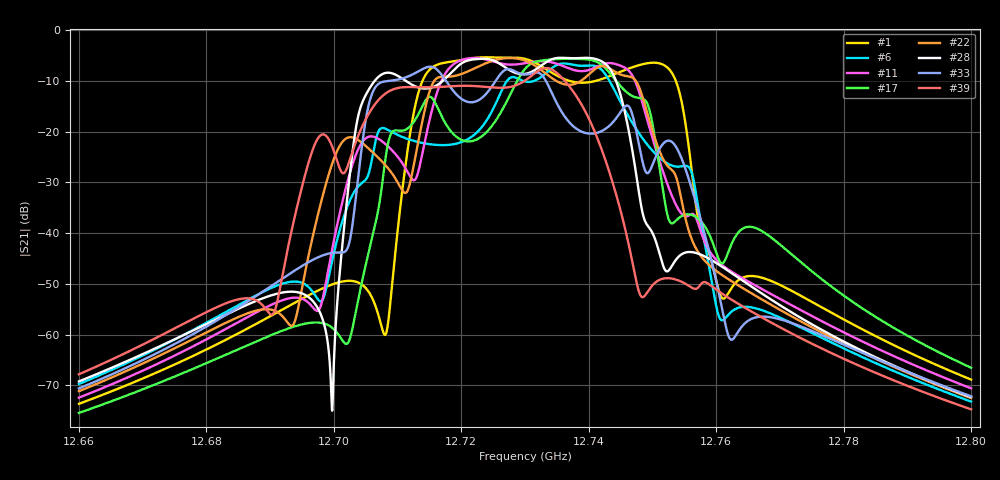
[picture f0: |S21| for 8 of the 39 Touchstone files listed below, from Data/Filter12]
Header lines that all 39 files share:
! TOUCHSTONE file generated by CST MICROWAVE STUDIO
! Project name: WaveGuide_BPF-Ver4.1_U-shape_Ku_T3_C4_CWA_2.cst
! Header version: 2018
! Port assignment regex: !\s*Touchstone port\s*([0-9]+)\s*=\s*(CST MWS port|CST DS port)\s*([0-9]+|Zmin|Zmax)\s*\(\"(.*)\"\)(\s*mode\s*([0-9]+))?.*
! Touchstone port assignment:
! Touchstone port 1 = CST MWS port 1 ("")
! Touchstone port 2 = CST MWS port 2 ("")
# GHz S RI R 50
Fixed: cavity_h = 16, cavity_l0 = 10, cavity_r = 2.5, cavity_screw_l = 0.5, cavity_screw_r = 1.5, cavity_w = 8, iris_h00 = 0, iris_h112 = 0, iris_rx = 0.1, iris_screw_l = 0.5, iris_screw_r = 1.5, iris_shift00 = 0, iris_shift112 = 0, iris_shift211 = 3.5, iris_shift310 = 0, iris_shift49 = 0, iris_shift58 = 3.5, iris_shift67 = 3.5, iris_tx = 4.5, iris_tz = 4.5, iris_w00 = 0, iris_w112 = 0, iris_w211 = 4, iris_w58 = 4, iris_w67 = 4, mesh_cavity = 5, mesh_iris = 7, mesh_screw = 7, order = 12, reset_all = 0, sigma = 4.8e+07
Also varied, not listed: iris_h45, iris_h49, iris_h56, iris_h58, iris_h67, iris_w310, iris_w49
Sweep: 12.66 GHz to 12.8 GHz
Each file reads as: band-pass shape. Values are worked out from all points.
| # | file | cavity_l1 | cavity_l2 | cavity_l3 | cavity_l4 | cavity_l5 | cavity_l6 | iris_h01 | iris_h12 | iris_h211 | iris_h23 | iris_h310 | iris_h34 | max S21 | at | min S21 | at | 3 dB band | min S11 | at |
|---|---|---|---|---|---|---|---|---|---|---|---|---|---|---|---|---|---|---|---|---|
| 1 | 161_Sprms.s2p | 15.19 | 16.8274 | 17.1 | 17.2456 | 17.1289 | 17.5828 | 8.8168 | 5.6062 | 3.6525 | 5.2046 | 3.976 | 5.0683 | -5.30 dB | 12.724 GHz | -73.7 dB | 12.66 GHz | 12.715 GHz-12.734 GHz | -22.0 dB | 12.729 GHz |
| 2 | 162_Sprms.s2p | 15.1788 | 16.8468 | 17.0992 | 17.2289 | 17.1523 | 17.6355 | 8.8103 | 5.5925 | 3.6533 | 5.2127 | 3.9665 | 5.0864 | -7.13 dB | 12.735 GHz | -73.8 dB | 12.66 GHz | 12.714 GHz-12.724 GHz | -38.3 dB | 12.754 GHz |
| 3 | 163_Sprms.s2p | 15.1911 | 16.8827 | 17.1078 | 17.2768 | 17.0914 | 17.6204 | 8.8127 | 5.5918 | 3.6522 | 5.2128 | 3.9606 | 5.0755 | -8.46 dB | 12.716 GHz | -73.6 dB | 12.8 GHz | 12.736 GHz-12.742 GHz | -15.4 dB | 12.717 GHz |
| 4 | 164_Sprms.s2p | 15.1677 | 16.8466 | 17.1295 | 17.2913 | 17.1088 | 17.5793 | 8.8141 | 5.5921 | 3.6558 | 5.2067 | 3.9746 | 5.069 | -6.14 dB | 12.72 GHz | -74.4 dB | 12.66 GHz | 12.731 GHz-12.746 GHz | -23.0 dB | 12.703 GHz |
| 5 | 165_Sprms.s2p | 15.1704 | 16.8281 | 17.1206 | 17.2684 | 17.142 | 17.6072 | 8.833 | 5.6133 | 3.6516 | 5.1942 | 3.9695 | 5.0908 | -5.20 dB | 12.741 GHz | -73.8 dB | 12.66 GHz | 12.717 GHz-12.729 GHz | -31.5 dB | 12.741 GHz |
| 6 | 166_Sprms.s2p | 15.232 | 16.8525 | 17.1352 | 17.2266 | 17.0977 | 17.6213 | 8.7997 | 5.5967 | 3.6645 | 5.2118 | 3.9679 | 5.0687 | -6.51 dB | 12.736 GHz | -73.2 dB | 12.8 GHz | 12.732 GHz-12.743 GHz | -12.7 dB | 12.741 GHz |
| 7 | 167_Sprms.s2p | 15.2331 | 16.8307 | 17.0651 | 17.3097 | 17.141 | 17.6284 | 8.83 | 5.6038 | 3.6681 | 5.1977 | 3.9771 | 5.069 | -6.80 dB | 12.732 GHz | -72.0 dB | 12.8 GHz | 12.728 GHz-12.736 GHz | -12.7 dB | 12.732 GHz |
| 8 | 168_Sprms.s2p | 15.2041 | 16.864 | 17.0794 | 17.2675 | 17.1192 | 17.6333 | 8.8364 | 5.5873 | 3.6549 | 5.1926 | 3.9612 | 5.0819 | -6.16 dB | 12.741 GHz | -73.5 dB | 12.8 GHz | 12.715 GHz-12.723 GHz | -19.6 dB | 12.718 GHz |
| 9 | 169_Sprms.s2p | 15.1649 | 16.8351 | 17.0999 | 17.2529 | 17.1519 | 17.6063 | 8.8106 | 5.5925 | 3.6618 | 5.2034 | 3.9677 | 5.0785 | -5.96 dB | 12.715 GHz | -75.7 dB | 12.66 GHz | 12.71 GHz-12.725 GHz | -17.2 dB | 12.713 GHz |
| 10 | 170_Sprms.s2p | 15.1782 | 16.8418 | 17.1426 | 17.2392 | 17.1422 | 17.5599 | 8.8269 | 5.6105 | 3.6588 | 5.1874 | 3.9629 | 5.068 | -7.65 dB | 12.749 GHz | -72.7 dB | 12.66 GHz | 12.715 GHz-12.722 GHz | -13.8 dB | 12.749 GHz |
| 11 | 171_Sprms.s2p | 15.1872 | 16.8588 | 17.1282 | 17.2782 | 17.119 | 17.5731 | 8.8082 | 5.5989 | 3.654 | 5.1881 | 3.961 | 5.0686 | -5.43 dB | 12.722 GHz | -72.5 dB | 12.66 GHz | 12.718 GHz-12.747 GHz | -22.0 dB | 12.721 GHz |
| 12 | 172_Sprms.s2p | 15.2228 | 16.8822 | 17.0993 | 17.2739 | 17.112 | 17.6304 | 8.8254 | 5.5861 | 3.6544 | 5.1917 | 3.9739 | 5.0734 | -6.27 dB | 12.741 GHz | -75.7 dB | 12.8 GHz | 12.738 GHz-12.744 GHz | -17.6 dB | 12.742 GHz |
| 13 | 173_Sprms.s2p | 15.1616 | 16.8279 | 17.0892 | 17.2891 | 17.1154 | 17.5904 | 8.8013 | 5.599 | 3.6543 | 5.1922 | 3.9782 | 5.0705 | -6.28 dB | 12.74 GHz | -76.7 dB | 12.66 GHz | 12.732 GHz-12.746 GHz | -12.5 dB | 12.74 GHz |
| 14 | 174_Sprms.s2p | 15.1637 | 16.8708 | 17.0657 | 17.2375 | 17.165 | 17.6121 | 8.8406 | 5.6091 | 3.6679 | 5.2057 | 3.9677 | 5.0833 | -6.86 dB | 12.735 GHz | -71.9 dB | 12.8 GHz | 12.732 GHz-12.738 GHz | -39.3 dB | 12.735 GHz |
| 15 | 175_Sprms.s2p | 15.1732 | 16.8625 | 17.124 | 17.255 | 17.1254 | 17.6228 | 8.8248 | 5.6104 | 3.6598 | 5.1985 | 3.9649 | 5.0794 | -5.22 dB | 12.73 GHz | -71.1 dB | 12.8 GHz | 12.719 GHz-12.741 GHz | -25.0 dB | 12.729 GHz |
| 16 | 176_Sprms.s2p | 15.2097 | 16.8806 | 17.104 | 17.2367 | 17.1242 | 17.5757 | 8.8149 | 5.5944 | 3.6654 | 5.209 | 3.9781 | 5.0701 | -5.59 dB | 12.728 GHz | -74.6 dB | 12.8 GHz | 12.72 GHz-12.738 GHz | -39.6 dB | 12.735 GHz |
| 17 | 177_Sprms.s2p | 15.216 | 16.803 | 17.0777 | 17.2977 | 17.1252 | 17.6027 | 8.7993 | 5.5926 | 3.6542 | 5.1971 | 3.974 | 5.0784 | -5.60 dB | 12.737 GHz | -75.5 dB | 12.66 GHz | 12.729 GHz-12.743 GHz | -36.1 dB | 12.736 GHz |
| 18 | 178_Sprms.s2p | 15.2096 | 16.8303 | 17.0972 | 17.2534 | 17.1672 | 17.5741 | 8.8358 | 5.6093 | 3.655 | 5.2088 | 3.9779 | 5.0902 | -7.81 dB | 12.729 GHz | -71.4 dB | 12.8 GHz | 12.726 GHz-12.731 GHz | -9.8 dB | 12.709 GHz |
| 19 | 179_Sprms.s2p | 15.1947 | 16.8561 | 17.0751 | 17.248 | 17.105 | 17.5545 | 8.8246 | 5.5983 | 3.6664 | 5.2065 | 3.9789 | 5.0817 | -5.62 dB | 12.74 GHz | -72.0 dB | 12.8 GHz | 12.72 GHz-12.745 GHz | -42.5 dB | 12.72 GHz |
| 20 | 180_Sprms.s2p | 15.202 | 16.824 | 17.1249 | 17.2248 | 17.1619 | 17.6214 | 8.8353 | 5.6002 | 3.6599 | 5.2022 | 3.9787 | 5.0859 | -7.14 dB | 12.713 GHz | -72.5 dB | 12.66 GHz | 12.708 GHz-12.717 GHz | -23.3 dB | 12.709 GHz |
| 21 | 181_Sprms.s2p | 15.1829 | 16.8197 | 17.0921 | 17.2935 | 17.088 | 17.5558 | 8.8202 | 5.5912 | 3.6689 | 5.1912 | 3.9799 | 5.0922 | -7.93 dB | 12.744 GHz | -75.4 dB | 12.66 GHz | 12.741 GHz-12.752 GHz | -10.2 dB | 12.709 GHz |
| 22 | 182_Sprms.s2p | 15.217 | 16.8602 | 17.1412 | 17.2672 | 17.1155 | 17.5885 | 8.7983 | 5.5902 | 3.654 | 5.2007 | 3.968 | 5.0822 | -5.45 dB | 12.728 GHz | -72.5 dB | 12.8 GHz | 12.72 GHz-12.733 GHz | -18.1 dB | 12.728 GHz |
| 23 | 183_Sprms.s2p | 15.1748 | 16.8529 | 17.0621 | 17.2707 | 17.1519 | 17.5761 | 8.8385 | 5.6114 | 3.6682 | 5.199 | 3.9732 | 5.0801 | -6.31 dB | 12.733 GHz | -71.0 dB | 12.8 GHz | 12.723 GHz-12.737 GHz | -13.8 dB | 12.757 GHz |
| 24 | 184_Sprms.s2p | 15.2126 | 16.85 | 17.1315 | 17.2994 | 17.1156 | 17.5719 | 8.8161 | 5.6138 | 3.6578 | 5.1969 | 3.9764 | 5.0808 | -5.88 dB | 12.723 GHz | -72.5 dB | 12.8 GHz | 12.719 GHz-12.73 GHz | -16.5 dB | 12.722 GHz |
| 25 | 185_Sprms.s2p | 15.1743 | 16.8559 | 17.1142 | 17.2866 | 17.1393 | 17.6122 | 8.8302 | 5.5969 | 3.659 | 5.1894 | 3.9724 | 5.0827 | -5.21 dB | 12.729 GHz | -72.4 dB | 12.66 GHz | 12.723 GHz-12.744 GHz | -23.7 dB | 12.73 GHz |
| 26 | 186_Sprms.s2p | 15.1884 | 16.8043 | 17.1067 | 17.2819 | 17.1251 | 17.6344 | 8.8046 | 5.6092 | 3.6574 | 5.1937 | 3.974 | 5.0867 | -5.27 dB | 12.73 GHz | -76.1 dB | 12.66 GHz | 12.722 GHz-12.737 GHz | -27.9 dB | 12.743 GHz |
| 27 | 187_Sprms.s2p | 15.2079 | 16.8297 | 17.1163 | 17.2397 | 17.0871 | 17.5545 | 8.8339 | 5.6127 | 3.6535 | 5.1957 | 3.9698 | 5.0826 | -5.34 dB | 12.736 GHz | -71.1 dB | 12.66 GHz | 12.731 GHz-12.741 GHz | -19.6 dB | 12.736 GHz |
| 28 | 188_Sprms.s2p | 15.2197 | 16.8383 | 17.1228 | 17.2718 | 17.1376 | 17.6196 | 8.8381 | 5.611 | 3.6658 | 5.1968 | 3.9702 | 5.0857 | -5.40 dB | 12.736 GHz | -75.0 dB | 12.7 GHz | 12.731 GHz-12.744 GHz | -24.8 dB | 12.742 GHz |
| 29 | 189_Sprms.s2p | 15.1666 | 16.8206 | 17.0687 | 17.3071 | 17.1378 | 17.6243 | 8.8323 | 5.6095 | 3.6542 | 5.1908 | 3.9756 | 5.0784 | -7.28 dB | 12.733 GHz | -74.8 dB | 12.66 GHz | 12.724 GHz-12.736 GHz | -9.8 dB | 12.733 GHz |
| 30 | 190_Sprms.s2p | 15.231 | 16.8605 | 17.1357 | 17.2757 | 17.1419 | 17.6338 | 8.8313 | 5.6051 | 3.6661 | 5.1952 | 3.9609 | 5.0837 | -5.25 dB | 12.733 GHz | -74.7 dB | 12.8 GHz | 12.715 GHz-12.74 GHz | -23.5 dB | 12.72 GHz |
| 31 | 191_Sprms.s2p | 15.2194 | 16.8724 | 17.0619 | 17.294 | 17.1156 | 17.6397 | 8.8158 | 5.5908 | 3.6583 | 5.1943 | 3.978 | 5.0718 | -7.40 dB | 12.713 GHz | -74.6 dB | 12.8 GHz | 12.71 GHz-12.715 GHz | -24.8 dB | 12.756 GHz |
| 32 | 192_Sprms.s2p | 15.1974 | 16.824 | 17.0858 | 17.3092 | 17.1285 | 17.5645 | 8.8289 | 5.5927 | 3.6586 | 5.2083 | 3.9746 | 5.0896 | -5.95 dB | 12.733 GHz | -73.4 dB | 12.66 GHz | 12.722 GHz-12.741 GHz | -15.5 dB | 12.733 GHz |
| 33 | 193_Sprms.s2p | 15.1935 | 16.8619 | 17.076 | 17.3007 | 17.1464 | 17.5996 | 8.8229 | 5.5982 | 3.6606 | 5.1959 | 3.9723 | 5.0737 | -7.15 dB | 12.715 GHz | -72.2 dB | 12.8 GHz | 12.708 GHz-12.718 GHz | -15.1 dB | 12.706 GHz |
| 34 | 194_Sprms.s2p | 15.1944 | 16.8119 | 17.1399 | 17.2427 | 17.1623 | 17.6262 | 8.8237 | 5.5867 | 3.6587 | 5.2097 | 3.9751 | 5.0764 | -9.39 dB | 12.707 GHz | -83.5 dB | 12.698 GHz | 12.705 GHz-12.709 GHz | -18.4 dB | 12.706 GHz |
| 35 | 195_Sprms.s2p | 15.1837 | 16.8708 | 17.0665 | 17.2272 | 17.091 | 17.61 | 8.8132 | 5.5935 | 3.6509 | 5.194 | 3.9657 | 5.075 | -6.66 dB | 12.747 GHz | -83.0 dB | 12.711 GHz | 12.726 GHz-12.739 GHz | -11.1 dB | 12.747 GHz |
| 36 | 196_Sprms.s2p | 15.199 | 16.812 | 17.1103 | 17.2632 | 17.0947 | 17.6378 | 8.829 | 5.6134 | 3.663 | 5.2072 | 3.9642 | 5.0919 | -7.78 dB | 12.726 GHz | -72.9 dB | 12.66 GHz | 12.724 GHz-12.735 GHz | -28.5 dB | 12.751 GHz |
| 37 | 197_Sprms.s2p | 15.1992 | 16.8498 | 17.1151 | 17.2254 | 17.1419 | 17.6372 | 8.805 | 5.5948 | 3.6555 | 5.2028 | 3.973 | 5.0722 | -7.01 dB | 12.724 GHz | -72.5 dB | 12.66 GHz | 12.716 GHz-12.737 GHz | -15.1 dB | 12.755 GHz |
| 38 | 198_Sprms.s2p | 15.2225 | 16.8311 | 17.1163 | 17.2651 | 17.1517 | 17.639 | 8.798 | 5.602 | 3.6617 | 5.1875 | 3.9785 | 5.0698 | -5.71 dB | 12.721 GHz | -72.5 dB | 12.66 GHz | 12.709 GHz-12.727 GHz | -63.7 dB | 12.72 GHz |
| 39 | 199_Sprms.s2p | 15.2208 | 16.8682 | 17.1346 | 17.3064 | 17.1709 | 17.5598 | 8.8227 | 5.6031 | 3.6574 | 5.2052 | 3.976 | 5.0849 | -7.43 dB | 12.733 GHz | -74.8 dB | 12.8 GHz | 12.729 GHz-12.737 GHz | -14.0 dB | 12.733 GHz |
